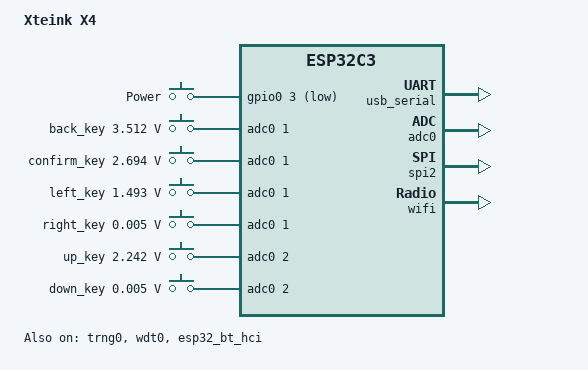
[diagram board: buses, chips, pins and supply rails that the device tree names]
/*
 * Copyright (c) 2025 Xteink
 *
 * SPDX-License-Identifier: Apache-2.0
 */

/dts-v1/;

#include <espressif/esp32c3/esp32c3_common.dtsi>
#include "xteink_x4-pinctrl.dtsi"
#include <zephyr/dt-bindings/input/input-event-codes.h>
#include <espressif/partitions_0x0_default_16M.dtsi>

/ {
	model = "Xteink X4";
	compatible = "xteink,xteink-x4";

	chosen {
		zephyr,sram = &sram1;
		zephyr,console = &usb_serial;
		zephyr,shell-uart = &usb_serial;
		zephyr,flash = &flash0;
		zephyr,code-partition = &slot0_partition;
		zephyr,bt-hci = &esp32_bt_hci;
	};

	aliases {
		sw0 = &power_button;
		watchdog0 = &wdt0;
	};

	gpio_keys {
		compatible = "gpio-keys";

		power_button: power_button {
			label = "Power";
			gpios = <&gpio0 3 (GPIO_PULL_UP | GPIO_ACTIVE_LOW)>;
			zephyr,code = <INPUT_KEY_POWER>;
		};
	};

	/* ADC channel 1 (GPIO1): Back, Confirm, Left, Right buttons */
	adc_keys_1: adc-keys-1 {
		compatible = "adc-keys";
		io-channels = <&adc0 1>;
		keyup-threshold-mv = <3800>;
		sample-period-ms = <50>;

		back_key {
			press-thresholds-mv = <3512>;
			zephyr,code = <INPUT_KEY_BACK>;
		};

		confirm_key {
			press-thresholds-mv = <2694>;
			zephyr,code = <INPUT_KEY_ENTER>;
		};

		left_key {
			press-thresholds-mv = <1493>;
			zephyr,code = <INPUT_KEY_LEFT>;
		};

		right_key {
			press-thresholds-mv = <5>;
			zephyr,code = <INPUT_KEY_RIGHT>;
		};
	};

	/* ADC channel 2 (GPIO2): Up, Down buttons */
	adc_keys_2: adc-keys-2 {
		compatible = "adc-keys";
		io-channels = <&adc0 2>;
		keyup-threshold-mv = <3300>;
		sample-period-ms = <50>;

		up_key {
			press-thresholds-mv = <2242>;
			zephyr,code = <INPUT_KEY_UP>;
		};

		down_key {
			press-thresholds-mv = <5>;
			zephyr,code = <INPUT_KEY_DOWN>;
		};
	};
};

/* 16MB flash */
&flash0 {
	reg = <0x0 DT_SIZE_M(16)>;
};

&usb_serial {
	status = "okay";
};

&gpio0 {
	status = "okay";
};

&adc0 {
	status = "okay";
};

&spi2 {
	#address-cells = <1>;
	#size-cells = <0>;
	status = "okay";
	pinctrl-0 = <&spim2_default>;
	pinctrl-names = "default";
};

&trng0 {
	status = "okay";
};

&wdt0 {
	status = "okay";
};

&timer0 {
	status = "disabled";
};

&timer1 {
	status = "disabled";
};

&esp32_bt_hci {
	status = "okay";
};

&wifi {
	status = "okay";
};
